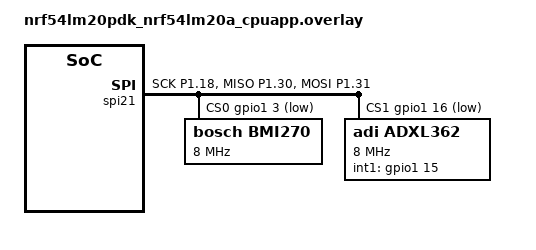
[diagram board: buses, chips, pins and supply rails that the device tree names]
/ {
	aliases {
		accel0 = &adxl362;
		accel-gyro = &bmi270;
	};
};

&pinctrl {
	spi21_default: spi21_default {
		group1 {
			psels = <NRF_PSEL(SPIM_SCK, 1, 18)>,
					<NRF_PSEL(SPIM_MISO, 1, 30)>,
					<NRF_PSEL(SPIM_MOSI, 1, 31)>;
		};
	};

	spi21_sleep: spi21_sleep {
		group1 {
			psels = <NRF_PSEL(SPIM_SCK, 1, 18)>,
					<NRF_PSEL(SPIM_MISO, 1, 30)>,
					<NRF_PSEL(SPIM_MOSI, 1, 31)>;
			low-power-enable;
		};
	};
};

&spi21 {
	status = "okay";
	pinctrl-0 = <&spi21_default>;
	pinctrl-1 = <&spi21_sleep>;
	pinctrl-names = "default", "sleep";
	cs-gpios = <&gpio1 3 GPIO_ACTIVE_LOW>,
			   <&gpio1 16 GPIO_ACTIVE_LOW>;

	bmi270: bmi270@0 {
		compatible = "bosch,bmi270";
		status = "okay";
		reg = <0>;
		spi-max-frequency = <DT_FREQ_M(8)>;
	};

	adxl362: adxl362@1 {
		compatible = "adi,adxl362";
		status = "okay";
		reg = <1>;
		int1-gpios = <&gpio1 15 (GPIO_ACTIVE_HIGH)>;
		spi-max-frequency = <DT_FREQ_M(8)>;
	};
};
